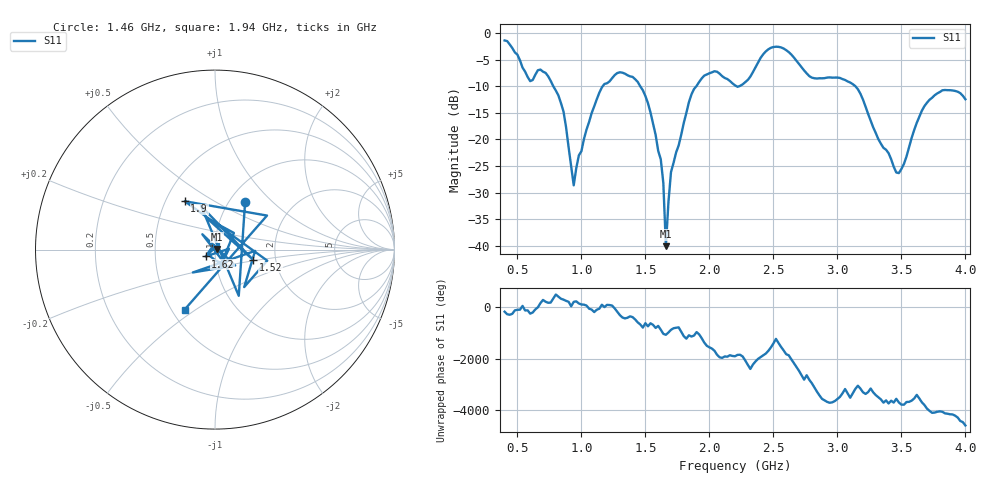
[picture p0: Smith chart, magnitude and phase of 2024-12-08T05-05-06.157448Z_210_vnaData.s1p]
!Created with skrf (http://scikit-rf.org).
# Hz S RI R 50.0
!freq ReS11 ImS11
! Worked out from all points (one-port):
!   181 points, 400 MHz to 4 GHz, reference 50 ohm
!   lowest |S11| = -40.1 dB at 1.66 GHz (marker M1), VSWR 1.02, Z = 51 + j0.298 ohm
!   |S11| at or under -10 dB: 780.1 MHz to 1.167 GHz (387 MHz wide, 39.8 % of centre); 1.459 GHz to 1.899 GHz (439.5 MHz wide, 26.2 % of centre); 3.14 GHz to end of sweep (the widest 3 of 4)
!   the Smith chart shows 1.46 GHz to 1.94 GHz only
!   S11 on the Smith chart (normalised r, x): 1.46 GHz: 1.18, +0.70; 1.52 GHz: 1.52, -0.18; 1.62 GHz: 0.90, -0.07; 1.9 GHz: 0.63, +0.37; 1.94 GHz: 0.58, -0.45
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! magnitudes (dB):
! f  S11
! 400 MHz  -1.4
! 600 MHz  -9.1
! 720 MHz  -7.5
! 860 MHz  -14.8
! 940 MHz  -28.6
! 980 MHz  -23.0
! 1.14 GHz  -11.2
! 1.3 GHz  -7.4
! 1.46 GHz  -10.0
! 1.52 GHz  -13.2
! 1.62 GHz  -23.7
! 1.64 GHz  -28.2
! 1.66 GHz  -40.1
! 1.7 GHz  -26.1
! 1.76 GHz  -21.1
! 1.9 GHz  -10.0
! 1.94 GHz  -8.5
! 2.06 GHz  -7.3
! 2.2 GHz  -9.8
! 2.48 GHz  -2.8
! 2.66 GHz  -4.6
! 2.8 GHz  -8.4
! 3.1 GHz  -9.3
! 3.46 GHz  -26.2
! 3.56 GHz  -21.4
! 3.66 GHz  -14.6
! 3.76 GHz  -11.7
! 4 GHz  -12.5
